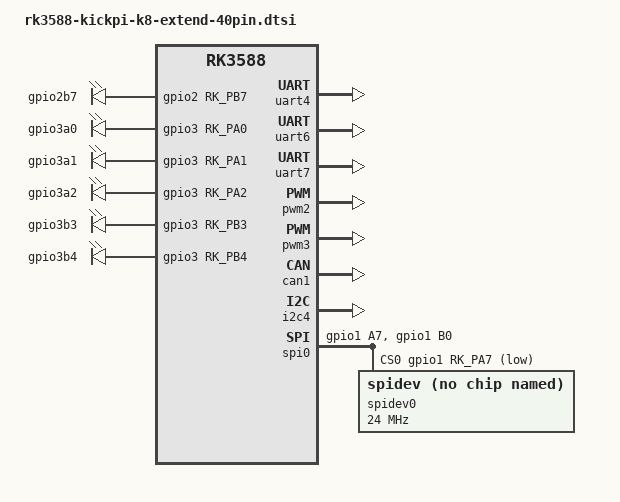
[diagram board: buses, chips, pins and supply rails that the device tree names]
&uart4 {
	status = "okay";
	pinctrl-names = "default";
	pinctrl-0 = <&uart4m0_xfer>;
};

&uart6 {
	status = "okay";
	pinctrl-names = "default";
	pinctrl-0 = <&uart6m0_xfer>;
};

&uart7 {
	status = "okay";
	pinctrl-names = "default";
	pinctrl-0 = <&uart7m0_xfer>;
};

&pwm2 {
    status = "okay";
    pinctrl-0 = <&pwm2m1_pins>;
};

&pwm3 {
    status = "okay";
    pinctrl-0 = <&pwm3m1_pins>;
};

&can1 {
    status = "okay";
    pinctrl-0 = <&can1m0_pins>;
};

&i2c4 {
	status = "okay";
	pinctrl-0 = <&i2c4m3_xfer>;
};

&pinctrl {
    spi0 {
        spi0_cs0n: spi0-cs0n {
            rockchip,pins = <1 RK_PA7 RK_FUNC_GPIO &pcfg_pull_up_drv_level_0>;
        };

        spi0_cs1n: spi0-cs1n {
            rockchip,pins = <1 RK_PB0 RK_FUNC_GPIO &pcfg_pull_up_drv_level_0>;
        };
    };
};

&spi0 {
    status = "okay";
    pinctrl-0 = <&spi0_cs0n &spi0_cs1n &spi0m2_pins>;
    cs-gpios = <&gpio1 RK_PA7 GPIO_ACTIVE_LOW>, <&gpio1 RK_PB0 GPIO_ACTIVE_LOW>;

	spidev0: spidev@0 {
		compatible = "rockchip,spidev";
		status = "okay";
		reg = <0>;
		spi-max-frequency = <24000000>;
	};

};

&leds {

    gpio2b7 {
        label = "gpio2b7";
		gpios = <&gpio2 RK_PB7 GPIO_ACTIVE_HIGH>;
		default-state = "off";
	};

    gpio3a0 {
        label = "gpio3a0";
		gpios = <&gpio3 RK_PA0 GPIO_ACTIVE_HIGH>;
		default-state = "off";
	};

    gpio3a1 {
        label = "gpio3a1";
		gpios = <&gpio3 RK_PA1 GPIO_ACTIVE_HIGH>;
		default-state = "off";
	};

    gpio3a2 {
        label = "gpio3a2";
		gpios = <&gpio3 RK_PA2 GPIO_ACTIVE_HIGH>;
		default-state = "off";
	};

/*
    gpio3b1 {
        label = "gpio3b1";
		gpios = <&gpio3 RK_PB1 GPIO_ACTIVE_HIGH>;
		default-state = "off";
	};

    gpio3b2 {
        label = "gpio3b2";
		gpios = <&gpio3 RK_PB2 GPIO_ACTIVE_HIGH>;
		default-state = "off";
	};
*/
    gpio3b3 {
        label = "gpio3b3";
		gpios = <&gpio3 RK_PB3 GPIO_ACTIVE_HIGH>;
		default-state = "off";
	};

    gpio3b4 {
        label = "gpio3b4";
		gpios = <&gpio3 RK_PB4 GPIO_ACTIVE_HIGH>;
		default-state = "off";
	};


};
